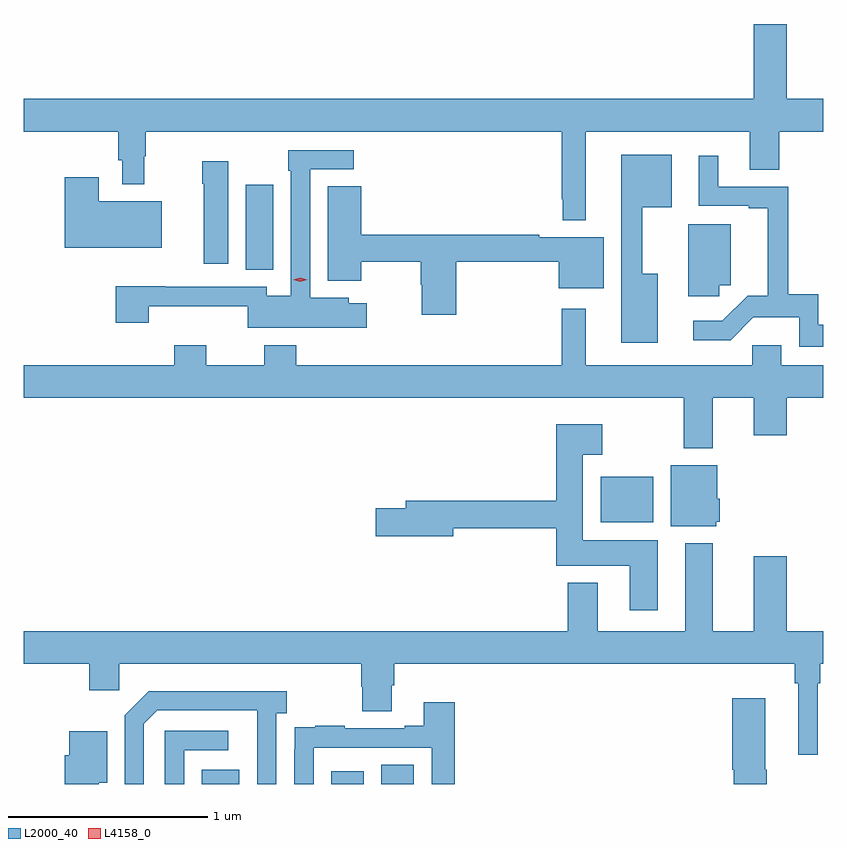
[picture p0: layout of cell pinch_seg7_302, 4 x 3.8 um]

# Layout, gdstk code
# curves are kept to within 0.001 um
import gdstk
lib = gdstk.Library(unit=1e-6, precision=1e-09)
def R(c, l, rs):  # rectangles x0, y0, x1, y1
    for r in rs: c.add(gdstk.rectangle(r[:2], r[2:], *l))
def P(c, l, *ps):  # polygons
    for p in ps: c.add(gdstk.Polygon(p, *l))
L2000_40 = (2000, 40)
L4158_0 = (4158, 0)

pinch_seg7_302 = lib.new_cell('pinch_seg7_302')
R(pinch_seg7_302, L2000_40, [(545.861,1054.627,546.049,1054.699), (546.509,1054.627,546.67,1054.69), (546.758,1054.627,546.922,1054.724), (547.856,1055.936,548.119,1056.166), (546.08,1057.201,546.217,1057.627)])
P(pinch_seg7_302, L2000_40, [(547.783,1057.892),(548.603,1057.892),(548.603,1057.702),(548.751,1057.702),(548.751,1057.892),(548.97,1057.892),(548.97,1058.056),(548.788,1058.056),(548.788,1058.431),(548.624,1058.431),(548.624,1058.056),(544.97,1058.056),(544.97,1057.892),(545.443,1057.892),(545.443,1057.75),(545.463,1057.75),(545.463,1057.629),(545.572,1057.629),(545.572,1057.769),(545.579,1057.769),(545.579,1057.892),(547.662,1057.892),(547.662,1057.555),(547.668,1057.555),(547.668,1057.448),(547.783,1057.448)],
  [(546.685,1057.033),(546.597,1057.033),(546.597,1057.06),(546.402,1057.06),(546.402,1057.704),(546.622,1057.704),(546.622,1057.8),(546.294,1057.8),(546.294,1057.697),(546.306,1057.697),(546.306,1057.072),(546.186,1057.072),(546.186,1057.116),(545.677,1057.116),(545.677,1057.118),(545.429,1057.118),(545.429,1056.936),(545.594,1056.936),(545.594,1057.019),(546.09,1057.019),(546.09,1056.911),(546.685,1056.911)],
  [(548.143,1057.18),(548.065,1057.18),(548.065,1057.514),(548.212,1057.514),(548.212,1057.777),(547.961,1057.777),(547.961,1056.836),(548.143,1056.836)],
  [(548.97,1056.926),(548.946,1056.926),(548.946,1057.079),(548.795,1057.079),(548.795,1057.617),(548.446,1057.617),(548.446,1057.771),(548.348,1057.771),(548.348,1057.521),(548.597,1057.521),(548.597,1057.509),(548.693,1057.509),(548.693,1057.072),(548.593,1057.072),(548.466,1056.945),(548.319,1056.945),(548.319,1056.849),(548.508,1056.849),(548.621,1056.962),(548.85,1056.962),(548.85,1056.816),(548.97,1056.816)],
  [(545.992,1057.744),(545.863,1057.744),(545.863,1057.631),(545.87,1057.631),(545.87,1057.23),(545.992,1057.23)],
  [(545.659,1057.543),(545.344,1057.543),(545.344,1057.663),(545.174,1057.663),(545.174,1057.31),(545.659,1057.31)],
  [(547.133,1057.24),(547.646,1057.24),(547.646,1057.109),(547.873,1057.109),(547.873,1057.363),(547.55,1057.363),(547.55,1057.376),(546.658,1057.376),(546.658,1057.619),(546.491,1057.619),(546.491,1057.145),(546.658,1057.145),(546.658,1057.24),(546.955,1057.24),(546.955,1057.125),(546.962,1057.125),(546.962,1056.975),(547.133,1056.975)],
  [(548.451,1057.124),(548.509,1057.124),(548.509,1057.429),(548.294,1057.429),(548.294,1057.068),(548.451,1057.068)],
  [(548.419,1056.56),(548.624,1056.56),(548.624,1056.372),(548.788,1056.372),(548.788,1056.56),(548.97,1056.56),(548.97,1056.724),(548.761,1056.724),(548.761,1056.822),(548.615,1056.822),(548.615,1056.724),(547.783,1056.724),(547.783,1057.006),(547.662,1057.006),(547.662,1056.724),(546.332,1056.724),(546.332,1056.823),(546.172,1056.823),(546.172,1056.724),(545.883,1056.724),(545.883,1056.823),(545.723,1056.823),(545.723,1056.724),(544.97,1056.724),(544.97,1056.56),(548.272,1056.56),(548.272,1056.308),(548.419,1056.308)],
  [(548.143,1055.848),(547.768,1055.848),(547.768,1056.275),(547.864,1056.275),(547.864,1056.427),(547.634,1056.427),(547.634,1056.044),(546.881,1056.044),(546.881,1056.008),(546.732,1056.008),(546.732,1055.866),(547.12,1055.866),(547.12,1055.908),(547.634,1055.908),(547.634,1055.72),(548.003,1055.72),(548.003,1055.496),(548.143,1055.496)],
  [(548.436,1055.94),(548.452,1055.94),(548.452,1056.054),(548.44,1056.054),(548.44,1056.223),(548.207,1056.223),(548.207,1055.918),(548.436,1055.918)],
  [(548.827,1055.132),(548.846,1055.132),(548.846,1054.773),(548.943,1054.773),(548.943,1055.132),(548.957,1055.132),(548.957,1055.228),(548.97,1055.228),(548.97,1055.392),(548.788,1055.392),(548.788,1055.767),(548.624,1055.767),(548.624,1055.392),(548.419,1055.392),(548.419,1055.833),(548.279,1055.833),(548.279,1055.392),(547.843,1055.392),(547.843,1055.635),(547.691,1055.635),(547.691,1055.392),(544.97,1055.392),(544.97,1055.228),(545.297,1055.228),(545.297,1055.097),(545.448,1055.097),(545.448,1055.228),(546.659,1055.228),(546.659,1055.115),(546.664,1055.115),(546.664,1054.99),(546.811,1054.99),(546.811,1055.122),(546.824,1055.122),(546.824,1055.228),(548.827,1055.228)],
  [(545.571,1054.929),(545.637,1054.995),(546.137,1054.995),(546.138,1054.627),(546.234,1054.627),(546.234,1054.982),(546.286,1054.982),(546.286,1055.092),(545.596,1055.092),(545.475,1054.971),(545.475,1054.627),(545.571,1054.627)],
  [(548.688,1054.698),(548.68,1054.698),(548.68,1055.056),(548.516,1055.056),(548.516,1054.698),(548.522,1054.698),(548.522,1054.627),(548.688,1054.627)],
  [(546.42,1054.809),(547.011,1054.809),(547.011,1054.627),(547.127,1054.627),(547.127,1055.035),(546.971,1055.035),(546.971,1054.918),(546.875,1054.918),(546.875,1054.905),(546.575,1054.905),(546.575,1054.918),(546.427,1054.918),(546.427,1054.911),(546.325,1054.911),(546.325,1054.802),(546.324,1054.802),(546.324,1054.627),(546.42,1054.627)],
  [(545.772,1054.797),(545.992,1054.797),(545.992,1054.893),(545.676,1054.893),(545.676,1054.627),(545.772,1054.627)],
  [(545.344,1054.634),(545.386,1054.634),(545.386,1054.891),(545.198,1054.891),(545.198,1054.77),(545.174,1054.77),(545.174,1054.627),(545.344,1054.627)])
P(pinch_seg7_302, L4158_0, [(546.354,1057.141),(546.319,1057.151),(546.319,1057.151),(546.319,1057.151),(546.354,1057.161),(546.388,1057.151),(546.389,1057.151),(546.388,1057.151)])

lib.write_gds('pinch_seg7_302.gds')
